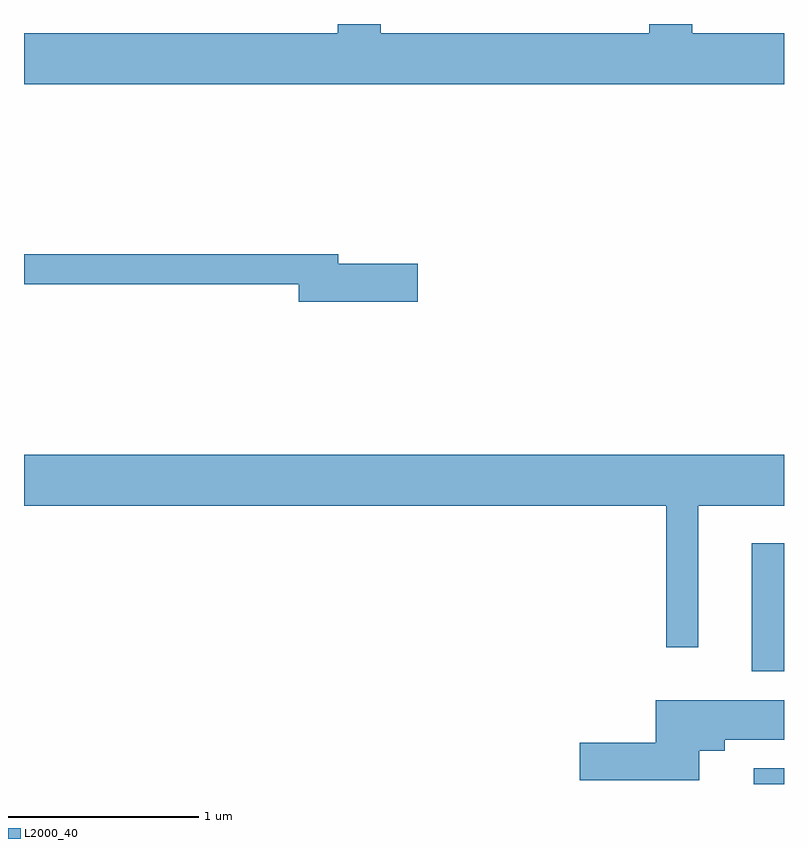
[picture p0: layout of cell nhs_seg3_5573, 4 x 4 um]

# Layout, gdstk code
import gdstk
lib = gdstk.Library(unit=1e-6, precision=1e-09)
def R(c, l, rs):  # rectangles x0, y0, x1, y1
    for r in rs: c.add(gdstk.rectangle(r[:2], r[2:], *l))
def P(c, l, *ps):  # polygons
    for p in ps: c.add(gdstk.Polygon(p, *l))
L2000_40 = (2000, 40)

nhs_seg3_5573 = lib.new_cell('nhs_seg3_5573')
R(nhs_seg3_5573, L2000_40, [(353.451,1117.892,353.611,1117.974), (353.441,1118.486,353.611,1119.159)])
P(nhs_seg3_5573, L2000_40, [(353.611,1121.844),(353.129,1121.844),(353.129,1121.892),(352.901,1121.892),(352.901,1121.844),(351.489,1121.844),(351.489,1121.892),(351.261,1121.892),(351.261,1121.844),(349.611,1121.844),(349.611,1121.576),(353.611,1121.576)],
  [(351.684,1120.629),(351.264,1120.629),(351.264,1120.679),(349.611,1120.679),(349.611,1120.521),(351.056,1120.521),(351.056,1120.431),(351.684,1120.431)],
  [(353.159,1119.356),(353.611,1119.356),(353.611,1119.624),(349.611,1119.624),(349.611,1119.356),(352.991,1119.356),(352.991,1118.613),(353.159,1118.613)],
  [(353.164,1118.066),(353.299,1118.066),(353.299,1118.126),(353.611,1118.126),(353.611,1118.334),(352.936,1118.334),(352.936,1118.109),(352.536,1118.109),(352.536,1117.911),(353.164,1117.911)])

lib.write_gds('nhs_seg3_5573.gds')
